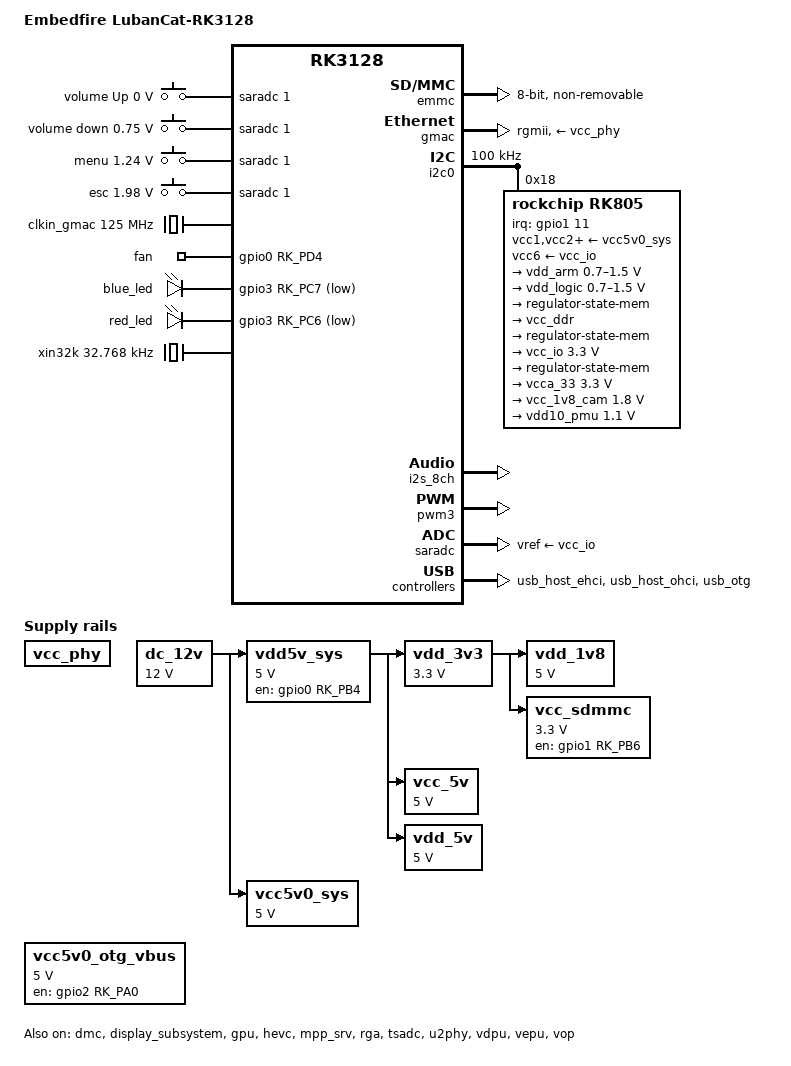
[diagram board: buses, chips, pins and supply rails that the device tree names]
// SPDX-License-Identifier: (GPL-2.0+ OR MIT)
/*
 * Copyright (c) 2022 Rockchip Electronics Co., Ltd
 */

/dts-v1/;
#include <dt-bindings/gpio/gpio.h>
#include <dt-bindings/input/rk-input.h>
#include <dt-bindings/pinctrl/rockchip.h>
#include <dt-bindings/pwm/pwm.h>
#include <dt-bindings/sensor-dev.h>
#include "rk3128.dtsi"
#include "rk312x-android.dtsi"
#include "rk3128-lubancat-hdmi.dtsi"

/ {
	model = "Embedfire LubanCat-RK3128";
	compatible = "rockchip,rk3128-lubancat", "rockchip,rk3128";

	aliases {
		mmc0 = &emmc;
		mmc1 = &sdio;
		mmc2 = &sdmmc;
	};

	chosen {
		bootargs = "earlycon=uart8250,mmio32,0x20068000 console=ttyFIQ0 root=PARTUUID=614e0000-0000-4b53-8000-1d28000054a9 rootwait rw";
	};

	adc-keys {
		compatible = "adc-keys";
		io-channels = <&saradc 1>;
		io-channel-names = "buttons";
		poll-interval = <100>;
		keyup-threshold-microvolt = <3300000>;

		vol-up-key {
			label = "volume Up";
			linux,code = <KEY_VOLUMEUP>;
			press-threshold-microvolt = <0>;
		};

		vol-down-key{
			label = "volume down";
			linux,code = <KEY_VOLUMEDOWN>;
			press-threshold-microvolt = <750000>;
		};

		menu-key{
			label = "menu";
			linux,code = <KEY_MENU>;
			press-threshold-microvolt = <1240000>;
		};

		esc-key {
			label = "esc";
			linux,code = <KEY_ESC>;
			press-threshold-microvolt = <1980000>;
		};
	};

	clkin_gmac: external-gmac-clock {
		compatible = "fixed-clock";
		clock-frequency = <125000000>;
		clock-output-names = "gmac_clkin";
		#clock-cells = <0>;
	};

	vcc_phy: vcc-phy-regulator {
		compatible = "regulator-fixed";
		enable-active-high;
		regulator-name = "vcc_phy";
		regulator-always-on;
		regulator-boot-on;
	};

	dc_12v: dc-12v {
		compatible = "regulator-fixed";
		regulator-name = "dc_12v";
		regulator-always-on;
		regulator-boot-on;
		regulator-min-microvolt = <12000000>;
		regulator-max-microvolt = <12000000>;
	};

	vdd5v_sys: vdd5v-sys {
		compatible = "regulator-fixed";
		regulator-name = "vdd5v_sys";
		regulator-boot-on;
		enable-active-high;
		regulator-always-on;
		regulator-min-microvolt = <5000000>;
		regulator-max-microvolt = <5000000>;
		// gpios = <&rk805 1 GPIO_ACTIVE_HIGH>;
		gpio = <&gpio0 RK_PB4 GPIO_ACTIVE_HIGH>;
		pinctrl-names = "default";
		pinctrl-0 = <&vdd5v_sys_en>;
		vin-supply = <&dc_12v>;
	};

	vcc5v0_sys: vcc5v0-sys {
		compatible = "regulator-fixed";
		regulator-name = "vcc5v0_sys";
		regulator-always-on;
		regulator-boot-on;
		regulator-min-microvolt = <5000000>;
		regulator-max-microvolt = <5000000>;
		vin-supply = <&dc_12v>;
	};

	vdd_3v3: vdd-3v3{
		compatible = "regulator-fixed";
		regulator-name = "vdd_3v3";
		regulator-always-on;
		enable-active-high;
		regulator-min-microvolt = <3300000>;
		regulator-max-microvolt = <3300000>;
		vin-supply = <&vdd5v_sys>;
	};

	vdd_1v8: vdd-1v8 {
		compatible = "regulator-fixed";
		regulator-name = "vdd_1v8";
		regulator-boot-on;
		enable-active-high;
		regulator-min-microvolt = <5000000>;
		regulator-max-microvolt = <5000000>;
		// gpios = <&rk805 0 GPIO_ACTIVE_HIGH>;
		vin-supply = <&vdd_3v3>;
	};

	vcc_5v: vcc-5v {
		compatible = "regulator-fixed";
		regulator-name = "vcc_5v";
		regulator-always-on;
		enable-active-high;
		regulator-min-microvolt = <5000000>;
		regulator-max-microvolt = <5000000>;
		vin-supply = <&vdd5v_sys>;
	};

	vdd_5v: vdd-5v {
		compatible = "regulator-fixed";
		regulator-name = "vdd_5v";
		regulator-always-on;
		enable-active-high;
		regulator-min-microvolt = <5000000>;
		regulator-max-microvolt = <5000000>;
		vin-supply = <&vdd5v_sys>;
	};

	vcc5v0_otg_vbus: vcc5v0-otg-vbus-regulator {
		compatible = "regulator-fixed";
		enable-active-high;
		regulator-min-microvolt = <5000000>;
		regulator-max-microvolt = <5000000>;
		gpio = <&gpio2 RK_PA0 GPIO_ACTIVE_HIGH>;
		pinctrl-names = "default";
		pinctrl-0 = <&vcc5v0_otg_vbus_en>;
		regulator-name = "vcc5v0_otg_vbus";
	};

	vcc_sdmmc: vcc-sdmmc{
		compatible = "regulator-fixed";
		enable-active-high;
		regulator-boot-on;
		regulator-min-microvolt = <3300000>;
		regulator-max-microvolt = <3300000>;
		gpio = <&gpio1 RK_PB6 GPIO_ACTIVE_HIGH>;
		pinctrl-names = "default";
		pinctrl-0 = <&sdmmc_pwren>;
		regulator-name = "vcc_sdmmc";
		vin-supply = <&vdd_3v3>;
	};

	leds: leds {
		status = "okay";
		compatible = "gpio-leds";

		fan: fan {
			label = "fan";
			default-state = "on";
			linux,default-trigger = "none";
			gpios = <&gpio0 RK_PD4 GPIO_ACTIVE_HIGH>;
			pinctrl-names = "default";
			pinctrl-0 = <&fan_pin>;
		};

		blue_led: blue-led {
			label = "blue_led";
			linux,default-trigger = "none";
			default-state = "on";
			gpios = <&gpio3 RK_PC7 GPIO_ACTIVE_LOW>;
			pinctrl-names = "default";
			pinctrl-0 = <&blue_led_pin>;
		};

		red_led: red-led {
			label = "red_led";
			linux,default-trigger = "none";
			default-state = "on";
			gpios = <&gpio3 RK_PC6 GPIO_ACTIVE_LOW>;
			pinctrl-names = "default";
			pinctrl-0 = <&red_led_pin>;
		};
	};

	xin32k: xin32k {
		compatible = "fixed-clock";
		clock-frequency = <32768>;
		clock-output-names = "xin32k";
		#clock-cells = <0>;
	};
};

&cpu0 {
	cpu-supply = <&vdd_arm>;
};

&dmc {
	center-supply = <&vdd_logic>;
	status = "okay";
};

&display_subsystem {
	status = "okay";
};

&emmc {
	bus-width = <8>;
	cap-mmc-highspeed;
	supports-emmc;
	disable-wp;
	non-removable;
	num-slots = <1>;
	pinctrl-names = "default";
	pinctrl-0 = <&emmc_clk &emmc_cmd &emmc_bus8>;
	status = "okay";
};

&gmac {
	assigned-clocks = <&cru SCLK_MAC>;
	assigned-clock-parents = <&clkin_gmac>;
	clock_in_out = "input";
	pinctrl-names = "default";
	pinctrl-0 = <&rgmii_pins>;
	phy-supply = <&vcc_phy>;
	phy-mode = "rgmii";
	snps,reset-active-low;
	snps,reset-delays-us = <0 20000 100000>;
	snps,reset-gpios = <&gpio2 RK_PB2 GPIO_ACTIVE_LOW>;
	tx_delay = <0x0d>;
	rx_delay = <0x08>;
	status = "okay";
};

&gpu {
	status = "okay";
	mali-supply = <&vdd_logic>;
};

&hevc {
	status = "okay";
};

&hevc_mmu {
	status = "okay";
};

&i2c0 {
	status = "okay";
	clock-frequency = <100000>;

	rk805: rk805@18 {
		compatible = "rockchip,rk805";
		status = "okay";
		reg = <0x18>;
		interrupt-parent = <&gpio1>;
		interrupts = <11 IRQ_TYPE_LEVEL_LOW>;
		pinctrl-names = "default";
		pinctrl-0 = <&pmic_int>,<&rk805_default>;
		rockchip,system-power-controller;
		wakeup-source;
		gpio-controller;
		#gpio-cells = <2>;
		#clock-cells = <1>;
		clock-output-names = "rk805-clkout1", "rk805-clkout2";

		vcc1-supply = <&vcc5v0_sys>;
		vcc2-supply = <&vcc5v0_sys>;
		vcc3-supply = <&vcc5v0_sys>;
		vcc4-supply = <&vcc5v0_sys>;
		vcc5-supply = <&vcc5v0_sys>;
		vcc6-supply = <&vcc_io>;

		rk805_default: pinmux {
			gpio01 {
				pins = "gpio0", "gpio1";
				function = "gpio";
				output-high;
			};
		};

		rtc {
			status = "okay";
		};

		pwrkey {
			status = "okay";
		};

		// gpio {
		// 	output-high;
		// 	status = "okay";
		// };

		regulators {
			compatible = "rk805-regulator";
			status = "okay";
			#address-cells = <1>;
			#size-cells = <0>;

			vdd_arm: DCDC_REG1 {
				regulator-name = "vdd_arm";
				regulator-min-microvolt = <700000>;
				regulator-max-microvolt = <1500000>;
				regulator-initial-mode = <0x1>;
				regulator-initial-state = <3>;
				regulator-boot-on;
				regulator-always-on;
				regulator-state-mem {
					regulator-state-mode = <0x2>;
					regulator-state-enabled;
					regulator-state-uv = <975000>;
				};
			};

			vdd_logic: DCDC_REG2 {
				regulator-name = "vdd_logic";
				regulator-min-microvolt = <700000>;
				regulator-max-microvolt = <1500000>;
				regulator-initial-mode = <0x1>;
				regulator-ramp-delay = <12500>;
				regulator-boot-on;
				regulator-always-on;
				regulator-state-mem {
					regulator-mode = <0x2>;
					regulator-on-in-suspend;
					regulator-suspend-microvolt = <1000000>;
				};
			};

			vcc_ddr: DCDC_REG3 {
				regulator-name = "vcc_ddr";
				regulator-initial-mode = <0x1>;
				regulator-boot-on;
				regulator-always-on;
				regulator-state-mem {
					regulator-mode = <0x2>;
					regulator-on-in-suspend;
				};
			};

			vcc_io: DCDC_REG4 {
				regulator-name = "vcc_io";
				regulator-min-microvolt = <3300000>;
				regulator-max-microvolt = <3300000>;
				regulator-initial-mode = <0x1>;
				regulator-boot-on;
				regulator-always-on;
				regulator-state-mem {
					regulator-mode = <0x2>;
					regulator-on-in-suspend;
					regulator-suspend-microvolt = <3300000>;
				};
			};

			vcca_33: LDO_REG1 {
				regulator-name = "vcca_33";
				regulator-min-microvolt = <3300000>;
				regulator-max-microvolt = <3300000>;
				regulator-initial-state = <3>;
				regulator-boot-on;
				regulator-always-on;
				regulator-state-mem {
					regulator-on-in-suspend;
					regulator-suspend-microvolt = <3300000>;
				};
			};

			vcc_1v8_cam: LDO_REG2 {
				regulator-name = "vcc_1v8_cam";
				regulator-min-microvolt = <1800000>;
				regulator-max-microvolt = <1800000>;
				regulator-boot-on;
				regulator-always-on;
				regulator-state-mem {
					regulator-on-in-suspend;
					regulator-suspend-microvolt = <1800000>;
				};
			};

			vdd10_pmu: LDO_REG3 {
				regulator-name = "vdd10_pmu";
				regulator-min-microvolt = <1100000>;
				regulator-max-microvolt = <1100000>;
				regulator-boot-on;
				regulator-always-on;
				regulator-state-mem {
					regulator-on-in-suspend;
					regulator-suspend-microvolt = <1100000>;
				};
			};
		};
	};
};

&i2s_8ch{
	status = "okay";
	#sound-dai-cells = <0>;
};

&mpp_srv {
	status = "okay";
};

&pwm2 {
	status = "disabled";
};

&pwm3{
	interrupts = <GIC_SPI 30 IRQ_TYPE_LEVEL_HIGH>;
	compatible = "rockchip,remotectl-pwm";
	pinctrl-names = "default";
	remote_pwm_id = <3>;
	handle_cpu_id = <0>;
	remote_support_psci = <0>;
	status = "okay";
	ir_key1 {
		rockchip,usercode = <0x909>;
		rockchip,key_table =
			<0xf4   KEY_POWER>,
			<0xe6   KEY_SLEEP>,
			<0xe4   KEY_WAKEUP>,
			<0xed   KEY_VOLUMEUP>,
			<0xec   KEY_VOLUMEDOWN>,
			<0xef   KEY_UP>,
			<0xee   KEY_DOWN>;
	};
};

&rga {
	status = "okay";
};

&saradc {
	status = "okay";
	vref-supply = <&vcc_io>;
};

&sdmmc {
	cap-mmc-highspeed;
	cap-sd-highspeed;
	no-sdio;
	no-mmc;
	vmmc-supply = <&vcc_sdmmc>;
	card-detect-delay = <800>;
	pinctrl-names = "default";
	pinctrl-0 = <&sdmmc_clk &sdmmc_cmd &sdmmc_bus4 &sdmmc_det>;
	rockchip,default-sample-phase=<90>;
	status = "disabled";
};

&tsadc {
	status = "okay";
};

&u2phy {
	status = "okay";

	u2phy_otg: otg-port {
		phy-supply = <&vcc5v0_otg_vbus>;
		status = "okay";
	};

	u2phy_host: host-port {
		phy-supply = <&vdd5v_sys>;
		status = "okay";
	};
};

&usb_host_ehci {
	status = "okay";
};

&usb_host_ohci {
	status = "okay";
};

&usb_otg {
	status = "okay";
};

&vdpu {
	status = "okay";
};

&vepu {
	status = "okay";
};

&vop {
	status = "okay";
};

&vop_mmu {
	status = "okay";
};

&vpu_mmu {
	status = "okay";
};

&pinctrl {

	leds {
		fan_pin: fan-pin {
			rockchip,pins = <0 RK_PD4 RK_FUNC_GPIO &pcfg_pull_none>;
		};

		blue_led_pin: blue-led-pin{
			rockchip,pins = <3 RK_PC7 RK_FUNC_GPIO &pcfg_pull_none>;
		};

		red_led_pin: red-led-pin{
			rockchip,pins = <3 RK_PC6 RK_FUNC_GPIO &pcfg_pull_none>;
		};
	};

	pmic {
		pmic_int: pmic-int {
			rockchip,pins = <1 RK_PB4 RK_FUNC_GPIO &pcfg_pull_default>;
		};

		pmic_sleep: pmic-sleep {
			rockchip,pins = <3 RK_PC1 2 &pcfg_pull_default>;
		};
	};

	power {
		vdd5v_sys_en:vdd5v-sys-en{
			rockchip,pins = <0 RK_PB4 RK_FUNC_GPIO &pcfg_pull_none>;
		};
	};

	usb2 {
		vcc5v0_otg_vbus_en:vcc5v0-otg-vbus-en{
			rockchip,pins = <2 RK_PA0 RK_FUNC_GPIO &pcfg_pull_none>;
		};
	};
};
